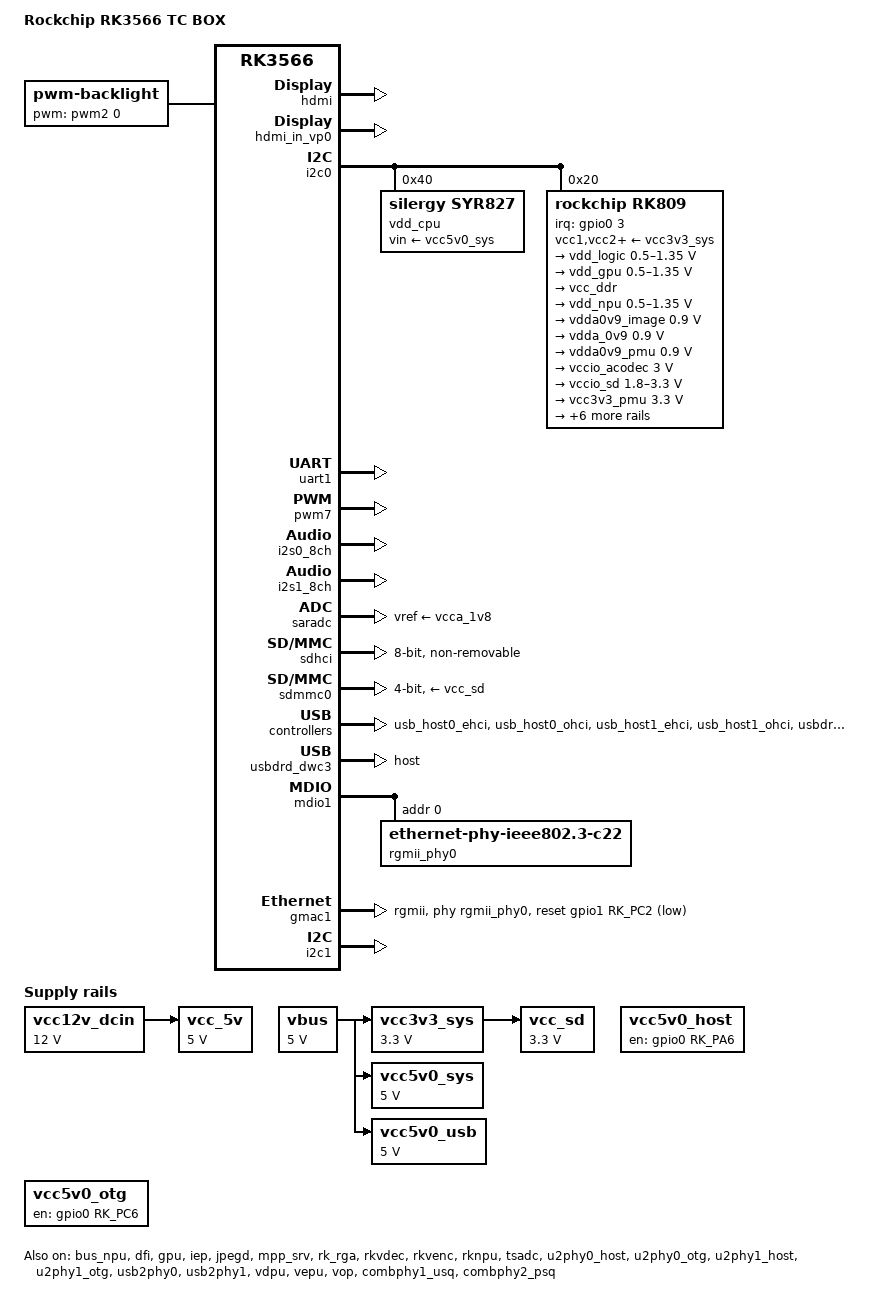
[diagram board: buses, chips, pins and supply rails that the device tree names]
// SPDX-License-Identifier: (GPL-2.0+ OR MIT)
/*
 * Copyright (c) 2020 Rockchip Electronics Co., Ltd.
 *
 */
/dts-v1/;

#include <dt-bindings/gpio/gpio.h>
#include <dt-bindings/pwm/pwm.h>
#include <dt-bindings/pinctrl/rockchip.h>
#include <dt-bindings/input/rk-input.h>
#include <dt-bindings/display/drm_mipi_dsi.h>
#include <dt-bindings/sensor-dev.h>
#include <dt-bindings/display/rockchip_vop.h>
#include "rk3566.dtsi"
#include "rk3568-linux.dtsi"

/ {
	model = "Rockchip RK3566 TC BOX";
	compatible = "rockchip,rk3566-tc-box", "rockchip,rk3566";

	chosen: chosen {
		bootargs = "earlycon=uart8250,mmio32,0xfe660000 console=ttyFIQ0";
	};

	/* labeled +12v in schematic */
	vcc12v_dcin: vcc12v-dcin-regulator {
		compatible = "regulator-fixed";
		regulator-name = "vcc12v_dcin";
		regulator-always-on;
		regulator-boot-on;
		regulator-min-microvolt = <12000000>;
		regulator-max-microvolt = <12000000>;
	};

	/* labeled +5v in schematic */
	vcc_5v: vcc-5v-regulator {
		compatible = "regulator-fixed";
		regulator-name = "vcc_5v";
		regulator-always-on;
		regulator-boot-on;
		regulator-min-microvolt = <5000000>;
		regulator-max-microvolt = <5000000>;
		vin-supply = <&vcc12v_dcin>;
	};

	vbus: vbus {
		compatible = "regulator-fixed";
		regulator-name = "vbus";
		regulator-always-on;
		regulator-boot-on;
		regulator-min-microvolt = <5000000>;
		regulator-max-microvolt = <5000000>;
	};
		
	hdmi_sound: hdmi-sound {
		compatible = "simple-audio-card";
		simple-audio-card,format = "i2s";
		simple-audio-card,mclk-fs = <128>;
		simple-audio-card,name = "rockchip,hdmi";
		status = "disabled";

		simple-audio-card,cpu {
				sound-dai = <&i2s0_8ch>;
		};
		simple-audio-card,codec {
				sound-dai = <&hdmi>;
		};
	};

	vcc3v3_sys: vcc3v3-sys {
		compatible = "regulator-fixed";
		regulator-name = "vcc3v3_sys";
		regulator-always-on;
		regulator-boot-on;
		regulator-min-microvolt = <3300000>;
		regulator-max-microvolt = <3300000>;
		vin-supply = <&vbus>;
	};

	vcc5v0_sys: vcc5v0-sys {
		compatible = "regulator-fixed";
		regulator-name = "vcc5v0_sys";
		regulator-always-on;
		regulator-boot-on;
		regulator-min-microvolt = <5000000>;
		regulator-max-microvolt = <5000000>;
		vin-supply = <&vbus>;
	};

	vcc5v0_usb: vcc5v0-usb {
		compatible = "regulator-fixed";
		regulator-name = "vcc5v0_usb";
		regulator-always-on;
		regulator-boot-on;
		regulator-min-microvolt = <5000000>;
		regulator-max-microvolt = <5000000>;
		vin-supply = <&vbus>;
	};

	test-power {
		status = "okay";
	};

	vcc_sd: vcc-sd {
		compatible = "regulator-fixed";
		regulator-max-microvolt = <3300000>;
		regulator-min-microvolt = <3300000>;
		regulator-name = "vcc_sd";
		vin-supply = <&vcc3v3_sys>;
	};

	vcc5v0_host: vcc5v0-host-regulator {
		compatible = "regulator-fixed";
		enable-active-high;
		gpio = <&gpio0 RK_PA6 GPIO_ACTIVE_HIGH>;
		pinctrl-names = "default";
		pinctrl-0 = <&vcc5v0_host_en>;
		regulator-name = "vcc5v0_host";
		regulator-always-on;
	};

	vcc5v0_otg: vcc5v0-otg-regulator {
		compatible = "regulator-fixed";
		enable-active-high;
		gpio = <&gpio0 RK_PC6 GPIO_ACTIVE_HIGH>;
		pinctrl-names = "default";
		pinctrl-0 = <&vcc5v0_otg_en>;
		regulator-name = "vcc5v0_otg";
		regulator-always-on;
	};

	backlight: backlight {
		compatible = "pwm-backlight";
		pwms = <&pwm2 0 25000 0>;
		brightness-levels = <
			  0  20  20  21  21  22  22  23
			 23  24  24  25  25  26  26  27
			 27  28  28  29  29  30  30  31
			 31  32  32  33  33  34  34  35
			 35  36  36  37  37  38  38  39
			 40  41  42  43  44  45  46  47
			 48  49  50  51  52  53  54  55
			 56  57  58  59  60  61  62  63
			 64  65  66  67  68  69  70  71
			 72  73  74  75  76  77  78  79
			 80  81  82  83  84  85  86  87
			 88  89  90  91  92  93  94  95
			 96  97  98  99 100 101 102 103
			104 105 106 107 108 109 110 111
			112 113 114 115 116 117 118 119
			120 121 122 123 124 125 126 127
			128 129 130 131 132 133 134 135
			136 137 138 139 140 141 142 143
			144 145 146 147 148 149 150 151
			152 153 154 155 156 157 158 159
			160 161 162 163 164 165 166 167
			168 169 170 171 172 173 174 175
			176 177 178 179 180 181 182 183
			184 185 186 187 188 189 190 191
			192 193 194 195 196 197 198 199
			200 201 202 203 204 205 206 207
			208 209 210 211 212 213 214 215
			216 217 218 219 220 221 222 223
			224 225 226 227 228 229 230 231
			232 233 234 235 236 237 238 239
			240 241 242 243 244 245 246 247
			248 249 250 251 252 253 254 255
		>;
		default-brightness-level = <200>;
	};
};

&bus_npu {
	bus-supply = <&vdd_logic>;
	pvtm-supply = <&vdd_cpu>;
	status = "okay";
};

&cpu0 {
	cpu-supply = <&vdd_cpu>;
};

&dfi {
	status = "okay";
};

&dmc {
	center-supply = <&vdd_logic>;
	status = "disabled";
};

&gpu {
	clock-names = "gpu", "bus";
	interrupt-names = "gpu", "mmu", "job";
	mali-supply = <&vdd_gpu>;
	status = "okay";
};

&hdmi {
	status = "okay";
	rockchip,phy-table =
		<92812500  0x8009 0x0000 0x0270>,
		<165000000 0x800b 0x0000 0x026d>,
		<185625000 0x800b 0x0000 0x01ed>,
		<297000000 0x800b 0x0000 0x01ad>,
		<594000000 0x8029 0x0000 0x0088>,
		<000000000 0x0000 0x0000 0x0000>;
};

&hdmi_in_vp0 {
	status = "okay";
};

&hdmi_in_vp1 {
	status = "disabled";
};

&hdmi_sound {
	status = "okay";
};

&i2c0 {
	status = "okay";

	vdd_cpu: syr837@40 {
		compatible = "silergy,syr827";
		reg = <0x40>;
		vin-supply = <&vcc5v0_sys>;
		regulator-compatible = "fan53555-reg";
		regulator-name = "vdd_cpu";
		regulator-min-microvolt = <712500>;
		regulator-max-microvolt = <1390000>;
		regulator-init-microvolt = <900000>;
		regulator-initial-mode = <1>;
		regulator-ramp-delay = <2300>;
		fcs,suspend-voltage-selector = <1>;
		regulator-boot-on;
		regulator-always-on;
		regulator-state-mem {
			regulator-off-in-suspend;
		};
	};

	rk809: pmic@20 {
		compatible = "rockchip,rk809";
		reg = <0x20>;
		interrupt-parent = <&gpio0>;
		interrupts = <3 IRQ_TYPE_LEVEL_LOW>;

		pinctrl-names = "default", "pmic-sleep",
				"pmic-power-off", "pmic-reset";
		pinctrl-0 = <&pmic_int>;
		pinctrl-1 = <&soc_slppin_slp>, <&rk817_slppin_slp>;
		pinctrl-2 = <&soc_slppin_gpio>, <&rk817_slppin_pwrdn>;
		pinctrl-3 = <&soc_slppin_gpio>, <&rk817_slppin_rst>;

		rockchip,system-power-controller;
		wakeup-source;
		#clock-cells = <1>;
		clock-output-names = "rk808-clkout1", "rk808-clkout2";
		//fb-inner-reg-idxs = <2>;
		/* 1: rst regs (default in codes), 0: rst the pmic */
		pmic-reset-func = <0>;
		/* not save the PMIC_POWER_EN register in uboot */
		not-save-power-en = <1>;

		vcc1-supply = <&vcc3v3_sys>;
		vcc2-supply = <&vcc3v3_sys>;
		vcc3-supply = <&vcc3v3_sys>;
		vcc4-supply = <&vcc3v3_sys>;
		vcc5-supply = <&vcc3v3_sys>;
		vcc6-supply = <&vcc3v3_sys>;
		vcc7-supply = <&vcc3v3_sys>;
		vcc8-supply = <&vcc3v3_sys>;
		vcc9-supply = <&vcc3v3_sys>;

		pwrkey {
			status = "okay";
		};

		pinctrl_rk8xx: pinctrl_rk8xx {
			gpio-controller;
			#gpio-cells = <2>;

			rk817_slppin_null: rk817_slppin_null {
				pins = "gpio_slp";
				function = "pin_fun0";
			};

			rk817_slppin_slp: rk817_slppin_slp {
				pins = "gpio_slp";
				function = "pin_fun1";
			};

			rk817_slppin_pwrdn: rk817_slppin_pwrdn {
				pins = "gpio_slp";
				function = "pin_fun2";
			};

			rk817_slppin_rst: rk817_slppin_rst {
				pins = "gpio_slp";
				function = "pin_fun3";
			};
		};

		regulators {
			vdd_logic: DCDC_REG1 {
				regulator-always-on;
				regulator-boot-on;
				regulator-min-microvolt = <500000>;
				regulator-max-microvolt = <1350000>;
				regulator-init-microvolt = <900000>;
				regulator-ramp-delay = <6001>;
				regulator-initial-mode = <0x2>;
				regulator-name = "vdd_logic";
				regulator-state-mem {
					regulator-off-in-suspend;
				};
			};

			vdd_gpu: DCDC_REG2 {
				regulator-always-on;
				regulator-boot-on;
				regulator-min-microvolt = <500000>;
				regulator-max-microvolt = <1350000>;
				regulator-init-microvolt = <900000>;
				regulator-ramp-delay = <6001>;
				regulator-initial-mode = <0x2>;
				regulator-name = "vdd_gpu";
				regulator-state-mem {
					regulator-off-in-suspend;
				};
			};

			vcc_ddr: DCDC_REG3 {
				regulator-always-on;
				regulator-boot-on;
				regulator-initial-mode = <0x2>;
				regulator-name = "vcc_ddr";
				regulator-state-mem {
					regulator-on-in-suspend;
				};
			};

			vdd_npu: DCDC_REG4 {
				regulator-always-on;
				regulator-boot-on;
				regulator-min-microvolt = <500000>;
				regulator-max-microvolt = <1350000>;
				regulator-init-microvolt = <900000>;
				regulator-ramp-delay = <6001>;
				regulator-initial-mode = <0x2>;
				regulator-name = "vdd_npu";
				regulator-state-mem {
					regulator-off-in-suspend;
				};
			};

			vdda0v9_image: LDO_REG1 {
				regulator-boot-on;
				regulator-always-on;
				regulator-min-microvolt = <900000>;
				regulator-max-microvolt = <900000>;
				regulator-name = "vdda0v9_image";
				regulator-state-mem {
					regulator-off-in-suspend;
				};
			};

			vdda_0v9: LDO_REG2 {
				regulator-always-on;
				regulator-boot-on;
				regulator-min-microvolt = <900000>;
				regulator-max-microvolt = <900000>;
				regulator-name = "vdda_0v9";
				regulator-state-mem {
					regulator-off-in-suspend;
				};
			};

			vdda0v9_pmu: LDO_REG3 {
				regulator-always-on;
				regulator-boot-on;
				regulator-min-microvolt = <900000>;
				regulator-max-microvolt = <900000>;
				regulator-name = "vdda0v9_pmu";
				regulator-state-mem {
					regulator-on-in-suspend;
					regulator-suspend-microvolt = <900000>;
				};
			};

			vccio_acodec: LDO_REG4 {
				regulator-always-on;
				regulator-boot-on;
				regulator-min-microvolt = <3000000>;
				regulator-max-microvolt = <3000000>;
				regulator-name = "vccio_acodec";
				regulator-state-mem {
					regulator-off-in-suspend;
				};
			};

			vccio_sd: LDO_REG5 {
				regulator-always-on;
				regulator-boot-on;
				regulator-min-microvolt = <1800000>;
				regulator-max-microvolt = <3300000>;
				regulator-name = "vccio_sd";
				regulator-state-mem {
					regulator-off-in-suspend;
				};
			};

			vcc3v3_pmu: LDO_REG6 {
				regulator-always-on;
				regulator-boot-on;
				regulator-min-microvolt = <3300000>;
				regulator-max-microvolt = <3300000>;
				regulator-name = "vcc3v3_pmu";
				regulator-state-mem {
					regulator-on-in-suspend;
					regulator-suspend-microvolt = <3300000>;
				};
			};

			vcca_1v8: LDO_REG7 {
				regulator-always-on;
				regulator-boot-on;
				regulator-min-microvolt = <1800000>;
				regulator-max-microvolt = <1800000>;
				regulator-name = "vcca_1v8";
				regulator-state-mem {
					regulator-off-in-suspend;
				};
			};

			vcca1v8_pmu: LDO_REG8 {
				regulator-always-on;
				regulator-boot-on;
				regulator-min-microvolt = <1800000>;
				regulator-max-microvolt = <1800000>;
				regulator-name = "vcca1v8_pmu";
				regulator-state-mem {
					regulator-on-in-suspend;
					regulator-suspend-microvolt = <1800000>;
				};
			};

			vcca1v8_image: LDO_REG9 {
				regulator-always-on;
				regulator-boot-on;
				regulator-min-microvolt = <1800000>;
				regulator-max-microvolt = <1800000>;
				regulator-name = "vcca1v8_image";
				regulator-state-mem {
					regulator-off-in-suspend;
				};
			};

			vcc_1v8: DCDC_REG5 {
				regulator-always-on;
				regulator-boot-on;
				regulator-min-microvolt = <1800000>;
				regulator-max-microvolt = <1800000>;
				regulator-name = "vcc_1v8";
				regulator-state-mem {
					regulator-off-in-suspend;
				};
			};

			vcc_3v3: SWITCH_REG1 {
				regulator-always-on;
				regulator-boot-on;
				regulator-name = "vcc_3v3";
				regulator-state-mem {
					regulator-off-in-suspend;
				};
			};

			vcc3v3_sd: SWITCH_REG2 {
				regulator-always-on;
				regulator-boot-on;
				regulator-name = "vcc3v3_sd";
				regulator-state-mem {
					regulator-off-in-suspend;
				};
			};
		};

		rk809_codec: codec {
			#sound-dai-cells = <1>;
			compatible = "rockchip,rk809-codec", "rockchip,rk817-codec";
			clocks = <&cru I2S1_MCLKOUT>;
			clock-names = "mclk";
			assigned-clocks = <&cru I2S1_MCLKOUT>, <&cru I2S1_MCLK_TX_IOE>;
			assigned-clock-rates = <12288000>;
			assigned-clock-parents = <&cru I2S1_MCLKOUT_TX>, <&cru I2S1_MCLKOUT_TX>;
			pinctrl-names = "default";
			pinctrl-0 = <&i2s1m0_mclk>;
			hp-volume = <20>;
			spk-volume = <3>;
			mic-in-differential;
			status = "okay";
		};
	};
};

&uart1 {
	status = "okay";
	pinctrl-names = "default";
	pinctrl-0 = <&uart1m0_xfer &uart1m0_ctsn>;
};

&pwm7 {
	status = "okay";
};

&i2s0_8ch {
	status = "okay";
};

&i2s1_8ch {
	status = "okay";
	rockchip,clk-trcm = <1>;
	pinctrl-names = "default";
	pinctrl-0 = <&i2s1m0_sclktx
		     &i2s1m0_lrcktx
		     &i2s1m0_sdi0
		     &i2s1m0_sdo0>;
};

&iep {
	status = "okay";
};

&iep_mmu {
	status = "okay";
};

&jpegd {
	status = "okay";
};

&jpegd_mmu {
	status = "okay";
};

&mpp_srv {
	status = "okay";
};

&pinctrl {
  
	sd {
		sdmmc0_pwr_h: sdmmc0-pwr-h {
			rockchip,pins =
			        <0 RK_PB0 RK_FUNC_GPIO &pcfg_pull_none>;
		};
	};

	pmic {
		pmic_int: pmic_int {
			rockchip,pins =
				<0 RK_PA3 RK_FUNC_GPIO &pcfg_pull_up>;
		};

		soc_slppin_gpio: soc_slppin_gpio {
			rockchip,pins =
				<0 RK_PA2 RK_FUNC_GPIO &pcfg_output_low>;
		};

		soc_slppin_slp: soc_slppin_slp {
			rockchip,pins =
				<0 RK_PA2 1 &pcfg_pull_none>;
		};

		soc_slppin_rst: soc_slppin_rst {
			rockchip,pins =
				<0 RK_PA2 2 &pcfg_pull_none>;
		};
	};

	usb {
		vcc5v0_host_en: vcc5v0-host-en {
			rockchip,pins = <0 RK_PA6 RK_FUNC_GPIO &pcfg_pull_none>;
		};

		vcc5v0_otg_en: vcc5v0-otg-en {
			rockchip,pins = <0 RK_PC6 RK_FUNC_GPIO &pcfg_pull_none>;
		};
	};

};

 /*
  * There are 10 independent IO domains in RK3566/RK3568, including PMUIO[0:2] and VCCIO[1:7].
  * 1/ PMUIO0 and PMUIO1 are fixed-level power domains which cannot be configured;
  * 2/ PMUIO2 and VCCIO1,VCCIO[3:7] domains require that their hardware power supply voltages
  *    must be consistent with the software configuration correspondingly
  *	a/ When the hardware IO level is connected to 1.8V, the software voltage configuration
  *	   should also be configured to 1.8V accordingly;
  *	b/ When the hardware IO level is connected to 3.3V, the software voltage configuration
  *	   should also be configured to 3.3V accordingly;
  * 3/ VCCIO2 voltage control selection (0xFDC20140)
  *	BIT[0]: 0x0: from GPIO_0A7 (default)
  *	BIT[0]: 0x1: from GRF
  *    Default is determined by Pin FLASH_VOL_SEL/GPIO0_A7:
  *	L:VCCIO2 must supply 3.3V
  *	H:VCCIO2 must supply 1.8V
  */

&pmu_io_domains {
        status = "okay";
        pmuio1-supply = <&vcc3v3_pmu>;
        pmuio2-supply = <&vcc3v3_pmu>;
        vccio1-supply = <&vcc_3v3>;
	vccio2-supply = <&vcc_1v8>;
        vccio3-supply = <&vccio_sd>;
        vccio4-supply = <&vcc_1v8>;
        vccio5-supply = <&vcc_3v3>;
        vccio6-supply = <&vcc_3v3>;
        vccio7-supply = <&vcc_3v3>;
};

&rk_rga {
	status = "okay";
};

&rkvdec {
	status = "okay";
};

&rkvdec_mmu {
	status = "okay";
};

&rkvenc {
	venc-supply = <&vdd_logic>;
	status = "okay";
};

&rkvenc_mmu {
	status = "okay";
};

&rknpu {
	rknpu-supply = <&vdd_npu>;
	status = "okay";
};

&rknpu_mmu {
	status = "okay";
};

&route_hdmi {
	status = "disabled";
	connect = <&vp0_out_hdmi>;
};

&saradc {
	status = "okay";
	vref-supply = <&vcca_1v8>;
};

&sdhci {
	bus-width = <8>;
	no-sdio;
	no-sd;
	non-removable;
	max-frequency = <200000000>;
	pinctrl-names = "default";
	pinctrl-0 = <&emmc_clk &emmc_cmd &emmc_bus8>;
	status = "okay";
};

&sdmmc0 {
	max-frequency = <150000000>;
	no-sdio;
	no-mmc;
	bus-width = <4>;
	cap-mmc-highspeed;
	cap-sd-highspeed;
	disable-wp;
	sd-uhs-sdr104;
	vmmc-supply = <&vcc_sd>;
	vqmmc-supply = <&vccio_sd>;
	pinctrl-names = "default";
	pinctrl-0 = <&sdmmc0_bus4 &sdmmc0_clk &sdmmc0_cmd &sdmmc0_det>;
	status = "okay";
};

&tsadc {
	status = "okay";
};

&u2phy0_host {
	phy-supply = <&vbus>;	
	status = "okay";
};

&u2phy0_otg {
	status = "okay";
};

&u2phy1_host {
	status = "okay";
};

&u2phy1_otg {
	status = "okay";
};

&usb2phy0 {
	status = "okay";
};

&usb2phy1 {
	status = "okay";
};

&usb_host0_ehci {
	status = "okay";
};

&usb_host0_ohci {
	status = "okay";
};

&usb_host1_ehci {
	status = "okay";
};

&usb_host1_ohci {
	status = "okay";
};

&usbdrd_dwc3 {
	dr_mode = "host";
	extcon = <&usb2phy0>;
	status = "okay";
};

&usbdrd30 {
	status = "okay";
};

&usbhost_dwc3 {
	status = "okay";
};

&usbhost30 {
	status = "okay";
};

&vdpu {
	status = "okay";
};

&vdpu_mmu {
	status = "okay";
};

&vepu {
	status = "okay";
};

&vepu_mmu {
	status = "okay";
};

&vop {
	status = "okay";
	assigned-clocks = <&cru DCLK_VOP0>, <&cru DCLK_VOP1>;
	assigned-clock-parents = <&pmucru PLL_HPLL>, <&cru PLL_VPLL>;
};

&vop_mmu {
	status = "okay";
};

&mdio1 {
	rgmii_phy0: phy@0 {
		compatible = "ethernet-phy-ieee802.3-c22";
		reg = <0x0>;
		status = "okay";
	};
};

&gmac1 {
	phy-mode = "rgmii";
	clock_in_out = "input";

	snps,reset-gpio = <&gpio1 RK_PC2 GPIO_ACTIVE_LOW>;
	snps,reset-active-low;
	/* Reset time is 20ms, 100ms for rtl8211f */
	snps,reset-delays-us = <0 20000 100000>;

	assigned-clocks = <&cru SCLK_GMAC1_RX_TX>, <&cru SCLK_GMAC1>;
	assigned-clock-parents = <&cru SCLK_GMAC1_RGMII_SPEED>, <&cru CLK_MAC1_2TOP>;
	assigned-clock-rates = <0>, <125000000>;

	pinctrl-names = "default";
	pinctrl-0 = <&gmac1m0_miim
		     &gmac1m0_tx_bus2
		     &gmac1m0_rx_bus2
		     &gmac1m0_rgmii_clk
			 &gmac1m0_clkinout
		     &gmac1m0_rgmii_bus>;

	tx_delay = <0x24>;
	rx_delay = <0x17>;

	phy-handle = <&rgmii_phy0>;
	status = "okay";
};

&combphy1_usq {
	status = "okay";
};

&combphy2_psq {
	status = "okay";
};

&vp0 {
	rockchip,plane-mask = <(1 << ROCKCHIP_VOP2_CLUSTER0 | 1 << ROCKCHIP_VOP2_ESMART0 | 1 <<
	ROCKCHIP_VOP2_SMART0 | 1 << ROCKCHIP_VOP2_CLUSTER1 | 1 << ROCKCHIP_VOP2_ESMART1 | 1 <<
	ROCKCHIP_VOP2_SMART1)>;
	rockchip,primary-plane = <ROCKCHIP_VOP2_SMART0>;
};

&i2c1 {
        status = "okay";
};

&csi2_dphy_hw {
      status = "disabled";
};

&csi2_dphy0 {
        status = "disabled";
};

&csi2_dphy1 {
        status = "disabled";
};

&rkisp {
        status = "disabled";
};

&rkisp_mmu {
        status = "disabled";
};

&rkisp_vir0 {
        status = "disabled";
};

&edp_phy {
	status = "disabled";
};

&route_edp {
	status = "disabled";
};

&pwm2 {
	status = "disabled";
};

&dsi1 {
	status = "disabled";
};
